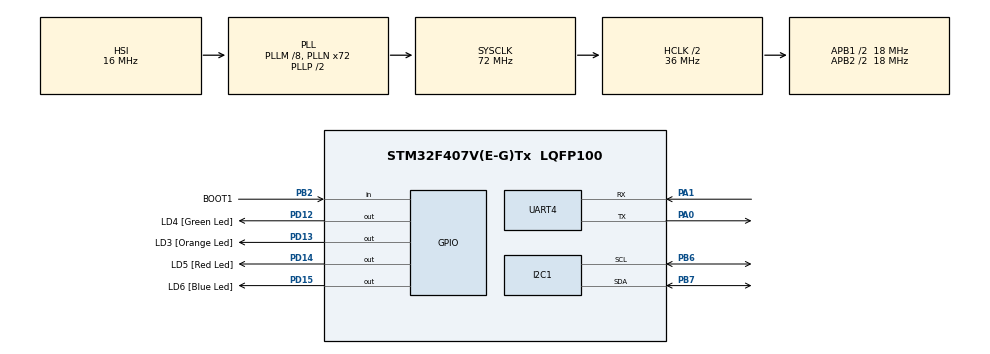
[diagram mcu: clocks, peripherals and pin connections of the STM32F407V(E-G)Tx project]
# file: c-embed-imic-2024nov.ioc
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FREERTOS.Mutexes01=myMutex01,Dynamic,NULL,Available
FREERTOS.Queues01=imuQueue,5,imu_data_t,0,Dynamic,NULL,NULL
FREERTOS.Tasks01=uartTask,8,512,uartTaskFunc,Default,NULL,Dynamic,NULL,NULL;t1,24,128,mpuTaskFunc,Default,NULL,Dynamic,NULL,NULL
Mcu.Family=STM32F4
Mcu.Name=STM32F407V(E-G)Tx
Mcu.Package=LQFP100
NVIC.PriorityGroup=NVIC_PRIORITYGROUP_4
NVIC.TIM1_UP_TIM10_IRQn=true\:15\:0\:false\:false\:true\:false\:false\:true\:true
NVIC.TimeBase=TIM1_UP_TIM10_IRQn
NVIC.TimeBaseIP=TIM1
NVIC.UART4_IRQn=true\:5\:0\:false\:false\:true\:true\:true\:true\:true
PA0-WKUP.Mode=Asynchronous
PA0-WKUP.Signal=UART4_TX
PA1.Mode=Asynchronous
PA1.Signal=UART4_RX
PA13.GPIO_Label=SWDIO
PA13.Signal=SYS_JTMS-SWDIO
PA14.GPIO_Label=SWCLK
PA14.Signal=SYS_JTCK-SWCLK
PB2.GPIO_Label=BOOT1
PB2.GPIO_Mode=GPIO_MODE_INPUT
PB2.GPIO_PuPd=GPIO_NOPULL
PB2.Signal=GPIO_Input
PB3.GPIO_Label=SWO
PB3.Signal=SYS_JTDO-SWO
PB6.Mode=I2C
PB6.Signal=I2C1_SCL
PB7.Mode=I2C
PB7.Signal=I2C1_SDA
PC14-OSC32_IN.GPIO_Label=PC14-OSC32_IN
PC14-OSC32_IN.Signal=RCC_OSC32_IN
PC15-OSC32_OUT.GPIO_Label=PC15-OSC32_OUT
PC15-OSC32_OUT.Signal=RCC_OSC32_OUT
PD12.GPIO_Label=LD4 [Green Led]
PD12.GPIO_PuPd=GPIO_NOPULL
PD12.GPIO_Speed=GPIO_SPEED_FREQ_LOW
PD12.Signal=GPIO_Output
PD13.GPIO_Label=LD3 [Orange Led]
PD13.GPIO_PuPd=GPIO_NOPULL
PD13.GPIO_Speed=GPIO_SPEED_FREQ_LOW
PD13.Signal=GPIO_Output
PD14.GPIO_Label=LD5 [Red Led]
PD14.GPIO_PuPd=GPIO_NOPULL
PD14.GPIO_Speed=GPIO_SPEED_FREQ_LOW
PD14.Signal=GPIO_Output
PD15.GPIO_Label=LD6 [Blue Led]
PD15.GPIO_PuPd=GPIO_NOPULL
PD15.GPIO_Speed=GPIO_SPEED_FREQ_LOW
PD15.Signal=GPIO_Output
PH0-OSC_IN.GPIO_Label=PH0-OSC_IN
PH0-OSC_IN.Signal=RCC_OSC_IN
PH1-OSC_OUT.GPIO_Label=PH1-OSC_OUT
PH1-OSC_OUT.Signal=RCC_OSC_OUT
ProjectManager.HeapSize=0x200
ProjectManager.StackSize=0x400
ProjectManager.TargetToolchain=STM32CubeIDE
RCC.48MHZClocksFreq_Value=20571428.57142857
RCC.AHBCLKDivider=RCC_SYSCLK_DIV2
RCC.AHBFreq_Value=36000000
RCC.APB1CLKDivider=RCC_HCLK_DIV2
RCC.APB1Freq_Value=18000000
RCC.APB1TimFreq_Value=36000000
RCC.APB2CLKDivider=RCC_HCLK_DIV2
RCC.APB2Freq_Value=18000000
RCC.APB2TimFreq_Value=36000000
RCC.CortexFreq_Value=36000000
RCC.HCLKFreq_Value=36000000
RCC.HSE_VALUE=8000000
RCC.HSI_VALUE=16000000
RCC.LSE_VALUE=32768
RCC.PLLM=8
RCC.PLLN=72
RCC.PLLQ=7
RCC.SYSCLKFreq_VALUE=72000000
RCC.SYSCLKSource=RCC_SYSCLKSOURCE_PLLCLK
RCC.VCOOutputFreq_Value=144000000
UART4.VirtualMode=Asynchronous
VP_FREERTOS_VS_CMSIS_V2.Mode=CMSIS_V2
VP_SYS_VS_tim1.Mode=TIM1
board=STM32F407G-DISC1

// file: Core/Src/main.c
/* USER CODE BEGIN Header */
/**
 ******************************************************************************
 * @file           : main.c
 * @brief          : Main program body
 ******************************************************************************
 * @attention
 *
 * Copyright (c) 2025 STMicroelectronics.
 * All rights reserved.
 *
 * This software is licensed under terms that can be found in the LICENSE file
 * in the root directory of this software component.
 * If no LICENSE file comes with this software, it is provided AS-IS.
 *
 ******************************************************************************
 */
/* USER CODE END Header */
#include "main.h"
#include "cmsis_os.h"

/* USER CODE BEGIN Includes */
#include <string.h>
#include "mpu6050.h"
/* USER CODE END Includes */

I2C_HandleTypeDef hi2c1;

UART_HandleTypeDef huart4;

/* Definitions for uartTask */
osThreadId_t uartTaskHandle;
const osThreadAttr_t uartTask_attributes = {
  .name = "uartTask",
  .stack_size = 512 * 4,
  .priority = (osPriority_t) osPriorityLow,
};
/* Definitions for t1 */
osThreadId_t t1Handle;
const osThreadAttr_t t1_attributes = {
  .name = "t1",
  .stack_size = 128 * 4,
  .priority = (osPriority_t) osPriorityNormal,
};
/* Definitions for imuQueue */
osMessageQueueId_t imuQueueHandle;
const osMessageQueueAttr_t imuQueue_attributes = {
  .name = "imuQueue"
};
/* Definitions for myMutex01 */
osMutexId_t myMutex01Handle;
const osMutexAttr_t myMutex01_attributes = {
  .name = "myMutex01"
};

void SystemClock_Config(void);
static void MX_GPIO_Init(void);
static void MX_I2C1_Init(void);
static void MX_UART4_Init(void);
void uartTaskFunc(void *argument);
void mpuTaskFunc(void *argument);

/* USER CODE BEGIN 0 */
#define PRINT_UART(f_, ...)                          														\
    do {                                            														\
        char _buffer[256];                         														\
        snprintf(_buffer, sizeof(_buffer), f_, ##__VA_ARGS__); 									\
        HAL_UART_Transmit(&huart4, (uint8_t *)_buffer, strlen(_buffer), 1000); 	\
    } while (0);

typedef struct {
	float roll;
	float pitch;
	float yaw;
} imu_data_t;

uint8_t data = 0;

void check_task(osMutexId_t *p){
	if (p == NULL){
		Error_Handler();
	}
}
/* USER CODE END 0 */

int main(void)
{

  /* MCU Configuration--------------------------------------------------------*/

  /* Reset of all peripherals, Initializes the Flash interface and the Systick. */
  HAL_Init();

  /* Configure the system clock */
  SystemClock_Config();

  /* Initialize all configured peripherals */
  MX_GPIO_Init();
  MX_I2C1_Init();
  MX_UART4_Init();
  /* USER CODE BEGIN 2 */
	HAL_UART_Receive_IT(&huart4, &data, 1);
	mpu_init(&hi2c1);
	osDelay(10);
  /* USER CODE END 2 */

  /* Init scheduler */
  osKernelInitialize();
  /* Create the mutex(es) */
  /* creation of myMutex01 */
  myMutex01Handle = osMutexNew(&myMutex01_attributes);
  check_task(myMutex01Handle);

  /* Create the queue(s) */
  /* creation of imuQueue */
  imuQueueHandle = osMessageQueueNew (5, sizeof(imu_data_t *), &imuQueue_attributes);
  check_task(imuQueueHandle);

  /* Create the thread(s) */
  /* creation of uartTask */
  uartTaskHandle = osThreadNew(uartTaskFunc, NULL, &uartTask_attributes);
  check_task(uartTaskHandle);
  /* creation of t1 */
  t1Handle = osThreadNew(mpuTaskFunc, NULL, &t1_attributes);
  check_task(t1Handle);

  /* Start scheduler */
  osKernelStart();

  /* We should never get here as control is now taken by the scheduler */

  /* Infinite loop */
	while (1) {

	}
}

void SystemClock_Config(void)
{
  RCC_OscInitTypeDef RCC_OscInitStruct = {0};
  RCC_ClkInitTypeDef RCC_ClkInitStruct = {0};

  /** Configure the main internal regulator output voltage
  */
  __HAL_RCC_PWR_CLK_ENABLE();
  __HAL_PWR_VOLTAGESCALING_CONFIG(PWR_REGULATOR_VOLTAGE_SCALE1);

  /** Initializes the RCC Oscillators according to the specified parameters
  * in the RCC_OscInitTypeDef structure.
  */
  RCC_OscInitStruct.OscillatorType = RCC_OSCILLATORTYPE_HSI;
  RCC_OscInitStruct.HSIState = RCC_HSI_ON;
  RCC_OscInitStruct.HSICalibrationValue = RCC_HSICALIBRATION_DEFAULT;
  RCC_OscInitStruct.PLL.PLLState = RCC_PLL_ON;
  RCC_OscInitStruct.PLL.PLLSource = RCC_PLLSOURCE_HSI;
  RCC_OscInitStruct.PLL.PLLM = 8;
  RCC_OscInitStruct.PLL.PLLN = 72;
  RCC_OscInitStruct.PLL.PLLP = RCC_PLLP_DIV2;
  RCC_OscInitStruct.PLL.PLLQ = 7;
  if (HAL_RCC_OscConfig(&RCC_OscInitStruct) != HAL_OK)
  {
    Error_Handler();
  }

  /** Initializes the CPU, AHB and APB buses clocks
  */
  RCC_ClkInitStruct.ClockType = RCC_CLOCKTYPE_HCLK|RCC_CLOCKTYPE_SYSCLK
                              |RCC_CLOCKTYPE_PCLK1|RCC_CLOCKTYPE_PCLK2;
  RCC_ClkInitStruct.SYSCLKSource = RCC_SYSCLKSOURCE_PLLCLK;
  RCC_ClkInitStruct.AHBCLKDivider = RCC_SYSCLK_DIV2;
  RCC_ClkInitStruct.APB1CLKDivider = RCC_HCLK_DIV2;
  RCC_ClkInitStruct.APB2CLKDivider = RCC_HCLK_DIV2;

  if (HAL_RCC_ClockConfig(&RCC_ClkInitStruct, FLASH_LATENCY_1) != HAL_OK)
  {
    Error_Handler();
  }
}

static void MX_I2C1_Init(void)
{

  hi2c1.Instance = I2C1;
  hi2c1.Init.ClockSpeed = 100000;
  hi2c1.Init.DutyCycle = I2C_DUTYCYCLE_2;
  hi2c1.Init.OwnAddress1 = 0;
  hi2c1.Init.AddressingMode = I2C_ADDRESSINGMODE_7BIT;
  hi2c1.Init.DualAddressMode = I2C_DUALADDRESS_DISABLE;
  hi2c1.Init.OwnAddress2 = 0;
  hi2c1.Init.GeneralCallMode = I2C_GENERALCALL_DISABLE;
  hi2c1.Init.NoStretchMode = I2C_NOSTRETCH_DISABLE;
  if (HAL_I2C_Init(&hi2c1) != HAL_OK)
  {
    Error_Handler();
  }

}

static void MX_UART4_Init(void)
{

  huart4.Instance = UART4;
  huart4.Init.BaudRate = 115200;
  huart4.Init.WordLength = UART_WORDLENGTH_8B;
  huart4.Init.StopBits = UART_STOPBITS_1;
  huart4.Init.Parity = UART_PARITY_NONE;
  huart4.Init.Mode = UART_MODE_TX_RX;
  huart4.Init.HwFlowCtl = UART_HWCONTROL_NONE;
  huart4.Init.OverSampling = UART_OVERSAMPLING_16;
  if (HAL_UART_Init(&huart4) != HAL_OK)
  {
    Error_Handler();
  }

}

static void MX_GPIO_Init(void)
{
  GPIO_InitTypeDef GPIO_InitStruct = {0};

  /* GPIO Ports Clock Enable */
  __HAL_RCC_GPIOC_CLK_ENABLE();
  __HAL_RCC_GPIOH_CLK_ENABLE();
  __HAL_RCC_GPIOA_CLK_ENABLE();
  __HAL_RCC_GPIOB_CLK_ENABLE();
  __HAL_RCC_GPIOD_CLK_ENABLE();

  /*Configure GPIO pin Output Level */
  HAL_GPIO_WritePin(GPIOD, LD4_Pin|LD3_Pin|LD5_Pin|LD6_Pin, GPIO_PIN_RESET);

  /*Configure GPIO pin : BOOT1_Pin */
  GPIO_InitStruct.Pin = BOOT1_Pin;
  GPIO_InitStruct.Mode = GPIO_MODE_INPUT;
  GPIO_InitStruct.Pull = GPIO_NOPULL;
  HAL_GPIO_Init(BOOT1_GPIO_Port, &GPIO_InitStruct);

  /*Configure GPIO pins : LD4_Pin LD3_Pin LD5_Pin LD6_Pin */
  GPIO_InitStruct.Pin = LD4_Pin|LD3_Pin|LD5_Pin|LD6_Pin;
  GPIO_InitStruct.Mode = GPIO_MODE_OUTPUT_PP;
  GPIO_InitStruct.Pull = GPIO_NOPULL;
  GPIO_InitStruct.Speed = GPIO_SPEED_FREQ_LOW;
  HAL_GPIO_Init(GPIOD, &GPIO_InitStruct);

}

/* USER CODE BEGIN 4 */
uint8_t buff[20];
uint8_t buff_idx = 0;
uint8_t flag_uart = 0;
imu_data_t imu_data_copy;

void HAL_UART_RxCpltCallback(UART_HandleTypeDef *huart) {
	if (huart->Instance == huart4.Instance) {
		if (data != '\n')
			buff[buff_idx++] = data;
		else
			flag_uart = 1;
		HAL_UART_Receive_IT(&huart4, (uint8_t*) &data, 1);
	}
}

uint8_t msg_cnt = 0;
void string_handle(const uint8_t *cmd) {
	msg_cnt = osMessageQueueGetCount(imuQueueHandle);
	while(msg_cnt){
		imu_data_t *data = NULL;
		osMessageQueueGet(imuQueueHandle, (void *)&data, 0, osWaitForever);
		msg_cnt--;
	}

    imu_data_t *pdata = NULL;
    if (osMessageQueueGet(imuQueueHandle, (void *)&pdata, 0, osWaitForever) == osOK) {

        // load data
        if (strcmp(cmd, "get roll") == 0) {
            PRINT_UART("roll: %.2f\n", pdata->roll * RAD2DEG);
        } else if (strcmp(cmd, "get pitch") == 0) {
            PRINT_UART("pitch: %.2f\n", imu_data_copy.pitch * RAD2DEG);
        } else if (strcmp(cmd, "get yaw") == 0) {
            PRINT_UART("yaw: %.2f\n", imu_data_copy.yaw * RAD2DEG);
        }
        // free allocate
        vPortFree(pdata);
    }
}

void uart_handle() {
	if (flag_uart) {
		flag_uart = 0;
		string_handle(buff);
		memset(buff, 0, buff_idx);
		buff_idx = 0;
	}
}

void imu_handle(){

}
/* USER CODE END 4 */

void uartTaskFunc(void *argument)
{
  /* USER CODE BEGIN 5 */

	/* Infinite loop */
	for (;;) {
		//if (osMutexAcquire(myMutex01Handle, 0) == osOK){
			uart_handle();
			//osMutexRelease(myMutex01Handle);
		//}
		osDelay(500);
	}
  /* USER CODE END 5 */
}

void mpuTaskFunc(void *argument)
{
  /* USER CODE BEGIN mpuTaskFunc */

	/* Infinite loop */
	for (;;) {
		//if(osMutexAcquire(myMutex01Handle, 0) == osOK){
			// initial dynamic memory
			imu_data_t *pdata = pvPortMalloc(sizeof(imu_data_t));
			if(pdata != NULL){
				// update data
				pdata->roll = mpu_get_roll();
				pdata->pitch = mpu_get_pitch();
				pdata->yaw = mpu_get_yaw();
				// put data to queue
	            if (osMessageQueuePut(imuQueueHandle, (void *)&pdata, 0, osWaitForever) != osOK) {
	            }
			}
			//osMutexRelease(myMutex01Handle);
		//}
		osDelay(200);
	}
  /* USER CODE END mpuTaskFunc */
}

void HAL_TIM_PeriodElapsedCallback(TIM_HandleTypeDef *htim)
{
  if (htim->Instance == TIM1) {
    HAL_IncTick();
  }
}

void Error_Handler(void)
{
  /* USER CODE BEGIN Error_Handler_Debug */
	/* User can add his own implementation to report the HAL error return state */
	__disable_irq();
	while (1) {
		for(uint8_t i = 0; i < 4; i++){
			HAL_GPIO_TogglePin(GPIOD, GPIO_PIN_12 << i);
		}
		HAL_Delay(500);
	}
  /* USER CODE END Error_Handler_Debug */
}
